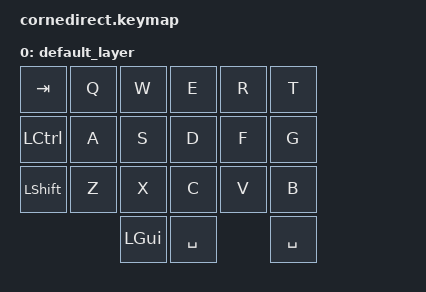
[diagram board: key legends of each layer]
/*
 * Copyright (c) 2020 The ZMK Contributors
 *
 * SPDX-License-Identifier: MIT
 */

#include <behaviors.dtsi>
#include <dt-bindings/zmk/keys.h>
#include <dt-bindings/zmk/bt.h>

/ {
        keymap {
                compatible = "zmk,keymap";

                default_layer {
// ---------------------------------------
// |  TAB |  Q  |  W  |  E  |  R  |  T  |  
// | CTRL |  A  |  S  |  D  |  F  |  G  |  
// | SHFT |  Z  |  X  |  C  |  V  |  B  |   
//                    | GUI | SPC | SPC |  
                        bindings = <
   &kp TAB   &kp Q &kp W &kp E &kp R &kp T
   &kp LCTRL &kp A &kp S &kp D &kp F &kp G
   &kp LSHFT &kp Z &kp X &kp C &kp V &kp B
                  &kp LGUI &kp SPACE &kp SPACE
                        >;
                };
        };
};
